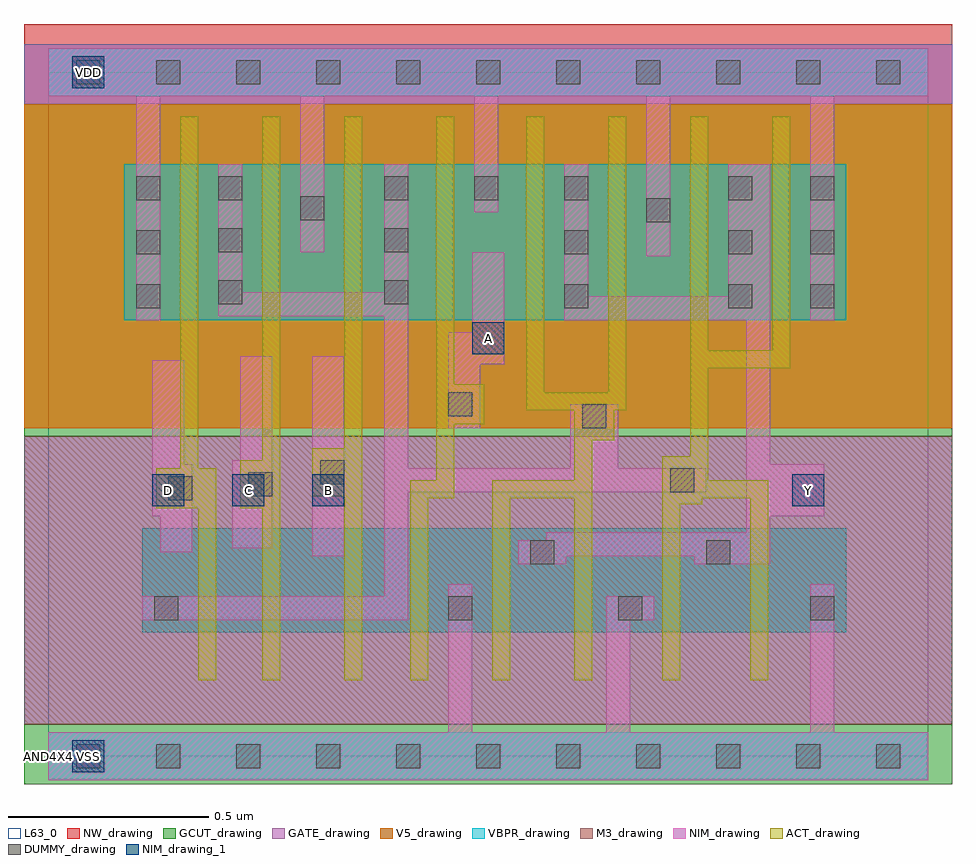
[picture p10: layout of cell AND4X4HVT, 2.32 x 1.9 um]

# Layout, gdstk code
import gdstk
lib = gdstk.Library(unit=1e-6, precision=5e-10)
def R(c, l, rs):  # rectangles x0, y0, x1, y1
    for r in rs: c.add(gdstk.rectangle(r[:2], r[2:], *l))
def A(c, l, x, y, w, h, nx, ny, dx, dy):  # array of equal rectangles
    R(c, l, [(x+i*dx, y+j*dy, x+i*dx+w, y+j*dy+h) for i in range(nx) for j in range(ny)])
def P(c, l, *ps):  # polygons
    for p in ps: c.add(gdstk.Polygon(p, *l))
VBPR_drawing = (1, 0)
NW_drawing = (2, 0)
ACT_drawing = (3, 0)
GATE_drawing = (4, 0)
GCUT_drawing = (5, 0)
DUMMY_drawing = (6, 0)
NIM_drawing = (7, 0)
NIM_drawing_1 = (7, 1)
M3_drawing = (18, 0)
V5_drawing = (23, 0)
L63_0 = (63, 0)

and4x4hvt = lib.new_cell('AND4X4HVT')
R(and4x4hvt, VBPR_drawing, [(0,-0.06,2.2,0.06), (0.235,0.31,1.995,0.57), (0.19,1.09,1.995,1.48), (0,1.65,2.2,1.77)])
R(and4x4hvt, NW_drawing, [(-0.06,0.82,2.26,1.83)])
P(and4x4hvt, ACT_drawing, [(0.33,1.6),(0.375,1.6),(0.375,0.72),(0.42,0.72),(0.42,0.19),(0.375,0.19),(0.375,0.62),(0.27,0.62),(0.27,0.72),(0.33,0.72)],
  [(0.535,1.6),(0.58,1.6),(0.58,0.19),(0.535,0.19),(0.535,0.62),(0.48,0.62),(0.48,0.74),(0.535,0.74)],
  [(0.74,1.6),(0.785,1.6),(0.785,0.19),(0.74,0.19),(0.74,0.65),(0.66,0.65),(0.66,0.77),(0.74,0.77)],
  [(0.97,1.6),(1.015,1.6),(1.015,0.93),(1.09,0.93),(1.09,0.83),(1.015,0.83),(1.015,0.645),(0.95,0.645),(0.95,0.19),(0.905,0.19),(0.905,0.69),(0.97,0.69)],
  [(1.195,1.6),(1.24,1.6),(1.24,0.91),(1.4,0.91),(1.4,1.6),(1.445,1.6),(1.445,0.865),(1.415,0.865),(1.415,0.79),(1.36,0.79),(1.36,0.19),(1.315,0.19),(1.315,0.645),(1.155,0.645),(1.155,0.19),(1.11,0.19),(1.11,0.69),(1.315,0.69),(1.315,0.865),(1.195,0.865)],
  [(1.605,1.6),(1.65,1.6),(1.65,1.015),(1.81,1.015),(1.81,1.6),(1.855,1.6),(1.855,0.97),(1.65,0.97),(1.65,0.69),(1.8,0.69),(1.8,0.19),(1.755,0.19),(1.755,0.645),(1.635,0.645),(1.635,0.63),(1.58,0.63),(1.58,0.19),(1.535,0.19),(1.535,0.75),(1.605,0.75)])
R(and4x4hvt, GATE_drawing, [(-0.06,0.08,2.26,0.8), (-0.06,1.63,2.26,1.78)])
R(and4x4hvt, GCUT_drawing, [(-0.06,-0.07,2.26,0.08), (-0.06,0.8,2.26,1.63)])
A(and4x4hvt, DUMMY_drawing, 0.07, -0.03, 0.06, 0.06, 11, 2, 0.2, 1.71)
A(and4x4hvt, DUMMY_drawing, 0.22, 1.12, 0.06, 0.06, 1, 3, 0, 0.135)
A(and4x4hvt, DUMMY_drawing, 1.7, 1.12, 0.06, 0.06, 1, 3, 0, 0.135)
A(and4x4hvt, DUMMY_drawing, 1.905, 1.12, 0.06, 0.06, 1, 3, 0, 0.135)
A(and4x4hvt, DUMMY_drawing, 0.425, 1.13, 0.06, 0.06, 1, 3, 0, 0.13)
A(and4x4hvt, DUMMY_drawing, 0.84, 1.39, 0.06, 0.06, 3, 1, 0.225, 0)
R(and4x4hvt, DUMMY_drawing, [(0.265,0.34,0.325,0.4), (1,0.34,1.06,0.4), (1.425,0.34,1.485,0.4), (1.905,0.34,1.965,0.4), (1.205,0.48,1.265,0.54), (1.645,0.48,1.705,0.54), (0.3,0.64,0.36,0.7), (0.5,0.65,0.56,0.71), (1.555,0.66,1.615,0.72), (0.68,0.68,0.74,0.74), (1.335,0.82,1.395,0.88), (1,0.85,1.06,0.91), (1.29,1.12,1.35,1.18), (0.84,1.13,0.9,1.19), (1.29,1.255,1.35,1.315), (0.84,1.26,0.9,1.32), (1.495,1.335,1.555,1.395), (0.63,1.34,0.69,1.4)])
R(and4x4hvt, NIM_drawing, [(1,0.06,1.06,0.43), (1.905,0.06,1.965,0.43), (0.66,0.5,0.74,1), (0.22,1.09,0.28,1.65), (1.905,1.09,1.965,1.65), (1.495,1.25,1.555,1.65), (0.63,1.26,0.69,1.65), (1.065,1.36,1.125,1.65)])
P(and4x4hvt, NIM_drawing, [(1.515,0.4),(1.395,0.4),(1.395,0.06),(1.455,0.06),(1.455,0.34),(1.515,0.34)],
  [(0.425,1.48),(0.485,1.48),(0.485,1.16),(0.84,1.16),(0.84,1.48),(0.9,1.48),(0.9,0.72),(1.305,0.72),(1.305,0.88),(1.425,0.88),(1.425,0.72),(1.645,0.72),(1.645,0.66),(0.9,0.66),(0.9,0.34),(0.235,0.34),(0.235,0.4),(0.84,0.4),(0.84,1.1),(0.425,1.1)],
  [(1.29,1.48),(1.35,1.48),(1.35,1.15),(1.7,1.15),(1.7,1.48),(1.805,1.48),(1.805,0.73),(1.94,0.73),(1.94,0.6),(1.805,0.6),(1.805,0.48),(1.615,0.48),(1.615,0.5),(1.295,0.5),(1.295,0.48),(1.175,0.48),(1.175,0.54),(1.245,0.54),(1.245,0.56),(1.745,0.56),(1.745,1.09),(1.29,1.09)],
  [(1.06,1.26),(1.14,1.26),(1.14,0.98),(1.08,0.98),(1.08,0.82),(1,0.82),(1,1.06),(1.06,1.06)],
  [(0.48,1),(0.56,1),(0.56,0.52),(0.46,0.52),(0.46,0.74),(0.48,0.74)],
  [(0.26,0.99),(0.34,0.99),(0.34,0.73),(0.36,0.73),(0.36,0.51),(0.28,0.51),(0.28,0.6),(0.26,0.6)])
A(and4x4hvt, NIM_drawing_1, 0.26, 0.625, 0.08, 0.08, 3, 1, 0.2, 0)
R(and4x4hvt, NIM_drawing_1, [(0.06,-0.04,0.14,0.04), (1.86,0.625,1.94,0.705), (1.06,1.005,1.14,1.085), (0.06,1.67,0.14,1.75)])
R(and4x4hvt, M3_drawing, [(-0.06,0.08,2.26,0.8)])
R(and4x4hvt, V5_drawing, [(-0.06,0.82,2.26,1.63)])
R(and4x4hvt, L63_0, [(0,0,2.2,1.71)])
and4x4hvt.add(gdstk.FlexPath([(0,0),(2.2,0)], 0.12, ends="flush", simple_path=True, layer=7, datatype=0))  # NIM_drawing
and4x4hvt.add(gdstk.FlexPath([(0,1.71),(2.2,1.71)], 0.12, ends="flush", simple_path=True, layer=7, datatype=0))  # NIM_drawing
and4x4hvt.add(gdstk.Label('Y', (1.9,0.665), layer=7, texttype=1))
and4x4hvt.add(gdstk.Label('A', (1.1,1.045), layer=7, texttype=1))
and4x4hvt.add(gdstk.Label('B', (0.7,0.665), layer=7, texttype=1))
and4x4hvt.add(gdstk.Label('C', (0.5,0.665), layer=7, texttype=1))
and4x4hvt.add(gdstk.Label('D', (0.3,0.665), layer=7, texttype=1))
and4x4hvt.add(gdstk.Label('VDD', (0.1,1.71), layer=7, texttype=1))
and4x4hvt.add(gdstk.Label('VSS', (0.1,0), layer=7, texttype=1))
and4x4hvt.add(gdstk.Label('VSS', (0.1,0), layer=7, texttype=1))
and4x4hvt.add(gdstk.Label('VDD', (0.1,1.71), layer=7, texttype=1))
and4x4hvt.add(gdstk.Label('D', (0.3,0.665), layer=7, texttype=1))
and4x4hvt.add(gdstk.Label('C', (0.5,0.665), layer=7, texttype=1))
and4x4hvt.add(gdstk.Label('B', (0.7,0.665), layer=7, texttype=1))
and4x4hvt.add(gdstk.Label('A', (1.1,1.045), layer=7, texttype=1))
and4x4hvt.add(gdstk.Label('Y', (1.9,0.665), layer=7, texttype=1))
and4x4hvt.add(gdstk.Label('AND4X4', (0,0), layer=63, texttype=0))

lib.write_gds('AND4X4HVT.gds')
